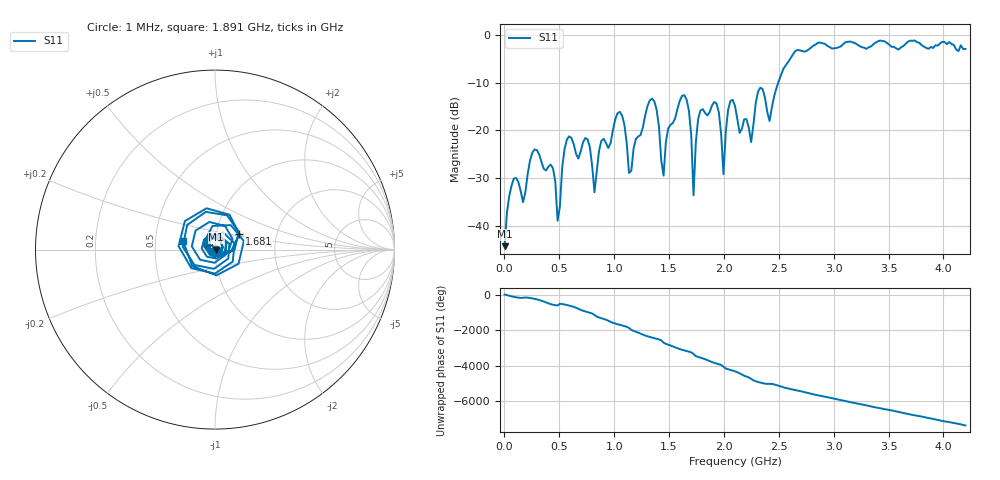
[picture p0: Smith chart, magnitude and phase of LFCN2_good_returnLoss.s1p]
# MHz S MA R 50
!  freq  S11
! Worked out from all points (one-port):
!   201 points, 1 MHz to 4.2 GHz, reference 50 ohm
!   lowest |S11| = -44.3 dB at 1 MHz (marker M1), VSWR 1.01, Z = 50.6 + j0.0476 ohm
!   |S11| at or under -10 dB: start of sweep to 2.494 GHz
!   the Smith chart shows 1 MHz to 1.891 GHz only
!   S11 on the Smith chart (normalised r, x): 1 MHz: 1.01, +0.00; 1.681 GHz: 1.29, +0.23; 1.891 GHz: 0.70, +0.07
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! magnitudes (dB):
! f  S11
! 1 MHz  -44.3
! 63.98 MHz  -31.6
! 169 MHz  -35.1
! 273.9 MHz  -24.0
! 441.9 MHz  -27.9
! 483.9 MHz  -39.0
! 525.9 MHz  -27.8
! 756.8 MHz  -21.9
! 819.8 MHz  -33.0
! 1.051 GHz  -16.1
! 1.135 GHz  -28.9
! 1.366 GHz  -13.9
! 1.45 GHz  -29.5
! 1.576 GHz  -15.5
! 1.681 GHz  -15.8
! 1.723 GHz  -33.6
! 1.765 GHz  -17.6
! 1.891 GHz  -14.8
! 1.996 GHz  -29.2
! 2.038 GHz  -15.7
! 2.1 GHz  -14.9
! 2.247 GHz  -22.4
! 2.31 GHz  -11.8
! 2.415 GHz  -18.0
! 2.625 GHz  -4.2
! 3.15 GHz  -1.3
! 3.675 GHz  -1.4
! 4.2 GHz  -2.9
